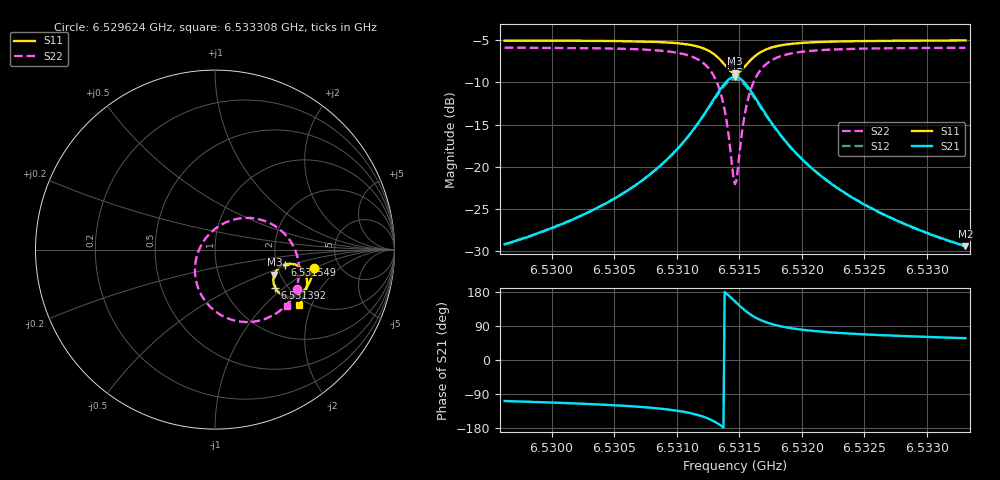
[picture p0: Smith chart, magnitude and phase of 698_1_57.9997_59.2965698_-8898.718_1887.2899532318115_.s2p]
#  HZ  S  RI  R  50.00
! Rohde & Schwarz Vector Network Analyzer
! Rohde-Schwarz,ZNB20-2Port,1311601062101988,3.16
! Created: UTC 3/21/2024, 1:21:39 AM
! freq[Hz]  re:S11  im:S11  re:S21  im:S21  re:S12  im:S12  re:S22  im:S22
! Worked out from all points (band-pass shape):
!   401 points, 6.529624 GHz to 6.533308 GHz, reference 50 ohm
!   highest |S21| = -9.33 dB at 6.531466 GHz (marker M1); lowest = -29.4 dB at 6.533308 GHz (marker M2)
!   |S21| within 3 dB of the highest: 6.531282 GHz to 6.53165 GHz (368.6 kHz wide, 0.00564 % of centre)
!   lowest |S11| = -8.9 dB at 6.531466 GHz (marker M3), VSWR 2.12, Z = 93.2 - j29.8 ohm
!   |S11| at or under -10 dB: nowhere
!   |S22| runs from -22.1 to -5.9 dB; largest |S21 - S12| = 0.015
!   S11 on the Smith chart (normalised r, x): 6.529624 GHz: 3.24, -0.96; 6.531392 GHz: 1.73, -0.87; 6.531549 GHz: 2.21, -0.44; 6.533308 GHz: 1.82, -1.64
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6.5296244e9  0.5509 -0.1019  -0.0108 -0.0329  -0.0115 -0.0328  0.4583 -0.2211
6.5302413e9  0.5372 -0.1541  -0.022 -0.0464  -0.0232 -0.046  0.4216 -0.2796
6.5306097e9  0.5225 -0.1898  -0.038 -0.0617  -0.0397 -0.0608  0.3805 -0.3248
6.5308583e9  0.5045 -0.2182  -0.0615 -0.0787  -0.0639 -0.0767  0.3278 -0.3632
6.5310701e9  0.4738 -0.2465  -0.1068 -0.0977  -0.11 -0.0937  0.2369 -0.3981
6.5312359e9  0.4207 -0.2632  -0.1897 -0.0991  -0.1916 -0.0905  0.0868 -0.3888
6.5313279e9  0.3701 -0.2497  -0.2671 -0.0591  -0.2644 -0.0474  -0.0389 -0.3056
6.5313648e9  0.3484 -0.2317  -0.2988 -0.0218  -0.2925 -0.00993  -0.0843 -0.2367
6.5313924e9  0.3349 -0.2116  -0.3169 0.0167  -0.3077 0.0273  -0.1062 -0.169
6.5314476e9  0.3259 -0.1579  -0.3205 0.113  -0.3072 0.1183  -0.093 -0.0106
6.5314661e9  0.3306 -0.1391  -0.309 0.1458  -0.2953 0.1485  -0.0678 0.0401
6.5314845e9  0.3391 -0.1218  -0.2913 0.1753  -0.278 0.1758  -0.0332 0.0851
6.5315213e9  0.3649 -0.0949  -0.2421 0.2202  -0.2313 0.2171  0.0548 0.1492
6.5315489e9  0.3881 -0.0834  -0.2004 0.2387  -0.192 0.2342  0.1268 0.1722
6.5315766e9  0.411 -0.079  -0.1601 0.2455  -0.1539 0.2408  0.1947 0.1764
6.5316134e9  0.4381 -0.0812  -0.1134 0.2418  -0.1094 0.2373  0.272 0.1613
6.5317055e9  0.482 -0.1052  -0.0389 0.2049  -0.0369 0.2024  0.3921 0.0829
6.5318436e9  0.507 -0.1447  0.00486 0.1497  0.00609 0.1488  0.4554 -0.0266
6.532083e9  0.5129 -0.1919  0.0219 0.095  0.023 0.0947  0.4682 -0.1378
6.5323869e9  0.5056 -0.2309  0.0232 0.0626  0.0242 0.0623  0.4537 -0.2108
6.5327e9  0.4945 -0.2607  0.0214 0.0453  0.0224 0.0451  0.4348 -0.2564
6.5333078e9  0.4698 -0.3077  0.018 0.0286  0.0187 0.0281  0.3995 -0.3141
